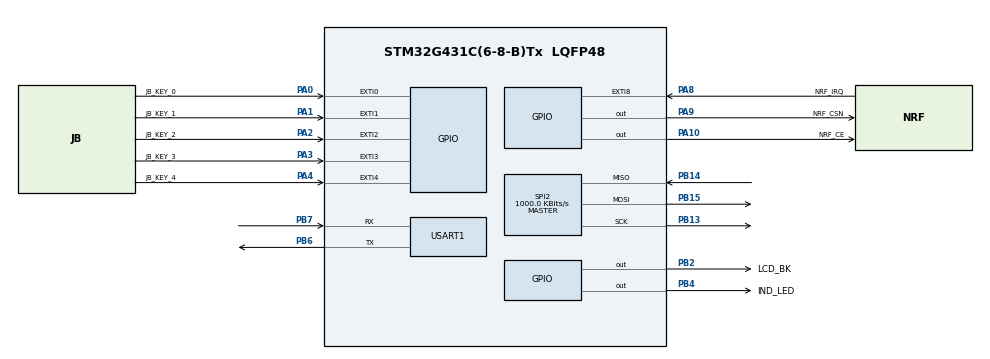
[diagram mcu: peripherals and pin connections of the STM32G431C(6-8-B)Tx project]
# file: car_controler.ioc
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Mcu.Family=STM32G4
Mcu.Name=STM32G431C(6-8-B)Tx
Mcu.Package=LQFP48
NVIC.EXTI0_IRQn=true\:0\:0\:false\:false\:false\:true\:true\:true
NVIC.EXTI1_IRQn=true\:0\:0\:false\:false\:false\:true\:true\:true
NVIC.EXTI2_IRQn=true\:0\:0\:false\:false\:false\:true\:true\:true
NVIC.EXTI3_IRQn=true\:0\:0\:false\:false\:false\:true\:true\:true
NVIC.EXTI4_IRQn=true\:0\:0\:false\:false\:false\:true\:true\:true
NVIC.PriorityGroup=NVIC_PRIORITYGROUP_4
NVIC.SPI2_IRQn=true\:0\:0\:false\:false\:true\:true\:true\:true
NVIC.TIM6_DAC_IRQn=true\:0\:0\:false\:false\:true\:true\:true\:true
NVIC.TIM7_IRQn=true\:0\:0\:false\:false\:true\:true\:true\:true
NVIC.USART1_IRQn=true\:0\:0\:false\:false\:true\:true\:true\:true
PA0.GPIO_Label=JB_KEY_0
PA0.GPIO_ModeDefaultEXTI=GPIO_MODE_IT_RISING_FALLING
PA0.GPIO_PuPd=GPIO_PULLUP
PA0.Signal=GPXTI0
PA1.GPIO_Label=JB_KEY_1
PA1.GPIO_ModeDefaultEXTI=GPIO_MODE_IT_RISING_FALLING
PA1.GPIO_PuPd=GPIO_PULLUP
PA1.Signal=GPXTI1
PA10.GPIO_Label=NRF_CE
PA10.Signal=GPIO_Output
PA13.Mode=Serial_Wire
PA13.Signal=SYS_JTMS-SWDIO
PA14.Mode=Serial_Wire
PA14.Signal=SYS_JTCK-SWCLK
PA2.GPIO_Label=JB_KEY_2
PA2.GPIO_ModeDefaultEXTI=GPIO_MODE_IT_RISING_FALLING
PA2.GPIO_PuPd=GPIO_PULLUP
PA2.Signal=GPXTI2
PA3.GPIO_Label=JB_KEY_3
PA3.GPIO_ModeDefaultEXTI=GPIO_MODE_IT_RISING_FALLING
PA3.GPIO_PuPd=GPIO_PULLUP
PA3.Signal=GPXTI3
PA4.GPIO_Label=JB_KEY_4
PA4.GPIO_ModeDefaultEXTI=GPIO_MODE_IT_RISING_FALLING
PA4.GPIO_PuPd=GPIO_PULLUP
PA4.Signal=GPXTI4
PA8.GPIO_Label=NRF_IRQ
PA8.Signal=GPXTI8
PA9.GPIO_Label=NRF_CSN
PA9.PinState=GPIO_PIN_SET
PA9.Signal=GPIO_Output
PB13.GPIO_Speed=GPIO_SPEED_FREQ_VERY_HIGH
PB13.Mode=Full_Duplex_Master
PB13.Signal=SPI2_SCK
PB14.GPIO_Speed=GPIO_SPEED_FREQ_VERY_HIGH
PB14.Mode=Full_Duplex_Master
PB14.Signal=SPI2_MISO
PB15.GPIO_Speed=GPIO_SPEED_FREQ_VERY_HIGH
PB15.Mode=Full_Duplex_Master
PB15.Signal=SPI2_MOSI
PB2.GPIO_Label=LCD_BK
PB2.Signal=GPIO_Output
PB4.GPIO_Label=IND_LED
PB4.Signal=GPIO_Output
PB6.Mode=Asynchronous
PB6.Signal=USART1_TX
PB7.Mode=Asynchronous
PB7.Signal=USART1_RX
ProjectManager.HeapSize=0x200
ProjectManager.StackSize=0x400
ProjectManager.TargetToolchain=CMake
RCC.ADC12Freq_Value=64000000
RCC.AHBFreq_Value=64000000
RCC.APB1Freq_Value=64000000
RCC.APB1TimFreq_Value=64000000
RCC.APB2Freq_Value=64000000
RCC.APB2TimFreq_Value=64000000
RCC.CortexFreq_Value=64000000
RCC.EXTERNAL_CLOCK_VALUE=12288000
RCC.HCLKFreq_Value=64000000
RCC.HSE_VALUE=8000000
RCC.HSI48_VALUE=48000000
RCC.HSI_VALUE=16000000
RCC.LSE_VALUE=32768
RCC.SYSCLKFreq_VALUE=64000000
RCC.SYSCLKSource=RCC_SYSCLKSOURCE_PLLCLK
RCC.USBFreq_Value=64000000
RCC.VCOOutputFreq_Value=128000000
SPI2.BaudRatePrescaler=SPI_BAUDRATEPRESCALER_64
SPI2.CalculateBaudRate=1000.0 KBits/s
SPI2.DataSize=SPI_DATASIZE_8BIT
SPI2.Direction=SPI_DIRECTION_2LINES
SPI2.Mode=SPI_MODE_MASTER
SPI2.VirtualType=VM_MASTER
TIM6.Prescaler=64000
TIM7.PeriodNoDither=10
TIM7.Prescaler=6400
USART1.VirtualMode-Asynchronous=VM_ASYNC
VP_SYS_VS_DBSignals.Mode=DisableDeadBatterySignals
VP_TIM6_VS_ClockSourceINT.Mode=Enable_Timer
VP_TIM7_VS_ClockSourceINT.Mode=Enable_Timer
board=custom

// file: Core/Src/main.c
/* USER CODE BEGIN Header */
/**
  ******************************************************************************
  * @file           : main.c
  * @brief          : Main program body
  ******************************************************************************
  * @attention
  *
  * Copyright (c) 2025 STMicroelectronics.
  * All rights reserved.
  *
  * This software is licensed under terms that can be found in the LICENSE file
  * in the root directory of this software component.
  * If no LICENSE file comes with this software, it is provided AS-IS.
  *
  ******************************************************************************
  */
/* USER CODE END Header */
#include "main.h"
#include "spi.h"
#include "tim.h"
#include "usart.h"
#include "gpio.h"

/* USER CODE BEGIN Includes */
#include "stm32g4xx_ll_system.h"
#include "stm32g4xx_ll_rcc.h"
#include "syslog.h"
#include <stdio.h>
#include "joystick.h"
#include "LCD_Controller.h"
#include "nrf_device.h"

/* USER CODE END Includes */

/* USER CODE BEGIN PV */
struct print_options
{
  uint8_t buffer[256];
  uint8_t ptr;
}print_options;

uint32_t blinking_period = 1000;
/* USER CODE END PV */

void SystemClock_Config(void);
/* USER CODE BEGIN PFP */

static void bt_button_ok_pressed(bool pressed);

int __io_putchar(int ch)
{
  print_options.buffer[print_options.ptr] = (uint8_t)ch;
  print_options.ptr++;
  if (print_options.buffer[print_options.ptr] == '\n' || print_options.ptr == sizeof(print_options.buffer) - 1)
  {
    HAL_UART_Transmit(&huart1, print_options.buffer, print_options.ptr, 0xFFFF);
    print_options.ptr = 0;
  }
  return ch;
}

/* USER CODE END PFP */

int main(void)
{

  /* MCU Configuration--------------------------------------------------------*/

  /* Reset of all peripherals, Initializes the Flash interface and the Systick. */
  HAL_Init();

  /* Configure the system clock */
  SystemClock_Config();

  /* Initialize all configured peripherals */
  MX_GPIO_Init();
  MX_USART1_UART_Init();
  MX_TIM6_Init();
  MX_TIM7_Init();
  MX_SPI2_Init();
  /* USER CODE BEGIN 2 */
  HAL_UART_Init(&huart1);
  js_init();
  HAL_TIM_Base_Start_IT(&htim6);
  HAL_TIM_Base_Start_IT(&htim7);
  js_add_worker(JOYSTICK_BUTTON_OK, bt_button_ok_pressed);
  syslog("Start of board%d",1);
  nrf_init();
  /* USER CODE END 2 */

  /* Infinite loop */
  /* USER CODE BEGIN WHILE */
  while (1)
  {
    // buttons worker
    js_main();
    /* USER CODE END WHILE */

  }
}

void SystemClock_Config(void)
{
  LL_FLASH_SetLatency(LL_FLASH_LATENCY_2);
  while(LL_FLASH_GetLatency() != LL_FLASH_LATENCY_2)
  {
  }
  LL_PWR_SetRegulVoltageScaling(LL_PWR_REGU_VOLTAGE_SCALE1);
  LL_RCC_HSI_Enable();
   /* Wait till HSI is ready */
  while(LL_RCC_HSI_IsReady() != 1)
  {
  }

  LL_RCC_HSI_SetCalibTrimming(64);
  LL_RCC_PLL_ConfigDomain_SYS(LL_RCC_PLLSOURCE_HSI, LL_RCC_PLLM_DIV_1, 8, LL_RCC_PLLR_DIV_2);
  LL_RCC_PLL_EnableDomain_SYS();
  LL_RCC_PLL_Enable();
   /* Wait till PLL is ready */
  while(LL_RCC_PLL_IsReady() != 1)
  {
  }

  LL_RCC_SetSysClkSource(LL_RCC_SYS_CLKSOURCE_PLL);
   /* Wait till System clock is ready */
  while(LL_RCC_GetSysClkSource() != LL_RCC_SYS_CLKSOURCE_STATUS_PLL)
  {
  }

  /* Set AHB prescaler*/
  LL_RCC_SetAHBPrescaler(LL_RCC_SYSCLK_DIV_1);
  LL_RCC_SetAPB1Prescaler(LL_RCC_APB1_DIV_1);
  LL_RCC_SetAPB2Prescaler(LL_RCC_APB2_DIV_1);
  LL_SetSystemCoreClock(64000000);

   /* Update the time base */
  if (HAL_InitTick (TICK_INT_PRIORITY) != HAL_OK)
  {
    Error_Handler();
  }
}

/* USER CODE BEGIN 4 */
void HAL_TIM_PeriodElapsedCallback(TIM_HandleTypeDef *htim)
{
  if (htim == &htim6)
  {
    LL_GPIO_TogglePin(IND_LED_GPIO_Port, IND_LED_Pin);
    // syslog("TIM6 event, %d %d", TIM6->CNT, TIM6->ARR);
    __HAL_TIM_SetCounter(htim, 0);
    __HAL_TIM_SetAutoreload(htim, blinking_period);
  }
  if (htim == &htim7)
  {
    js_read_buttons();
    __HAL_TIM_SetCounter(htim, 0);
    __HAL_TIM_SetAutoreload(htim, 10);
  }
}

static void bt_button_ok_pressed(bool pressed)
{
  if (pressed)
  {
    uint8_t status = 55;
    // nrf_write_configuration(0x08);
    // // syslog("Status of nRF %d", status);
    // nrf_read_configuration(&status);
    // syslog("Config of nRF %d", status);
    nrf_print_full_reg_status();
  }
}
/* USER CODE END 4 */

void Error_Handler(void)
{
  __disable_irq();
  while (1)
  {
  }
}
